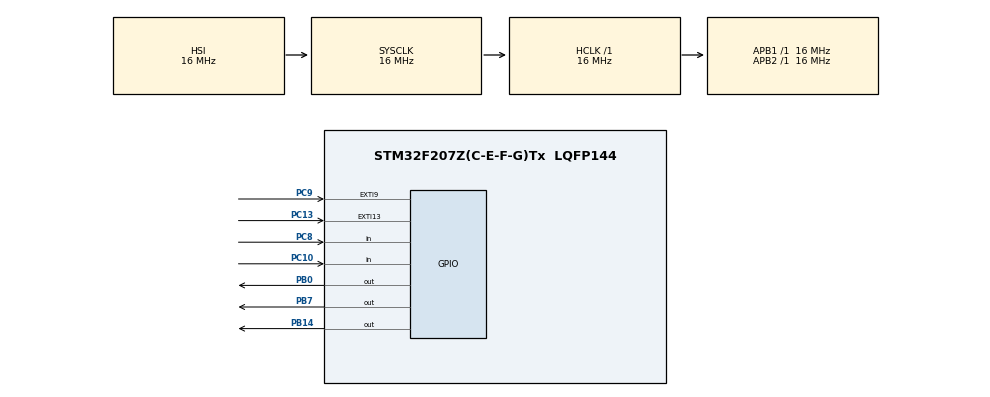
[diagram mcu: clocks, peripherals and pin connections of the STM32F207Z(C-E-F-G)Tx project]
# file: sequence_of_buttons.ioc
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Mcu.Family=STM32F2
Mcu.Name=STM32F207Z(C-E-F-G)Tx
Mcu.Package=LQFP144
NVIC.EXTI15_10_IRQn=true\:0\:0\:false\:false\:true\:true\:true\:true
NVIC.EXTI9_5_IRQn=true\:0\:0\:false\:false\:true\:true\:true\:true
NVIC.PriorityGroup=NVIC_PRIORITYGROUP_4
PB0.Signal=GPIO_Output
PB14.Signal=GPIO_Output
PB7.Signal=GPIO_Output
PC10.GPIO_PuPd=GPIO_PULLDOWN
PC10.Signal=GPIO_Input
PC13.GPIO_PuPd=GPIO_PULLDOWN
PC13.Signal=GPXTI13
PC8.GPIO_PuPd=GPIO_PULLDOWN
PC8.Signal=GPIO_Input
PC9.GPIO_PuPd=GPIO_PULLDOWN
PC9.Signal=GPXTI9
ProjectManager.HeapSize=0x200
ProjectManager.StackSize=0x400
ProjectManager.TargetToolchain=STM32CubeIDE
RCC.48MHZClocksFreq_Value=48000000
RCC.AHBFreq_Value=16000000
RCC.APB1Freq_Value=16000000
RCC.APB2Freq_Value=16000000
RCC.CortexFreq_Value=16000000
RCC.HSE_VALUE=25000000
RCC.HSI_VALUE=16000000
RCC.LSE_VALUE=32768
RCC.SYSCLKFreq_VALUE=16000000
RCC.VCOOutputFreq_Value=192000000
board=custom

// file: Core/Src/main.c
/* USER CODE BEGIN Header */
/**
  ******************************************************************************
  * @file           : main.c
  * @brief          : Main program body
  ******************************************************************************
  * @attention
  *
  * Copyright (c) 2023 STMicroelectronics.
  * All rights reserved.
  *
  * This software is licensed under terms that can be found in the LICENSE file
  * in the root directory of this software component.
  * If no LICENSE file comes with this software, it is provided AS-IS.
  *
  ******************************************************************************
  */
/* USER CODE END Header */
#include "main.h"
#include <stdio.h>

void SystemClock_Config(void);
static void MX_GPIO_Init(void);

/* USER CODE BEGIN 0 */
/*
void HAL_GPIO_EXTI_Callback(uint16_t GPIO_PIN)
{
	if (GPIO_PIN == GPIO_PIN_8)
	{
		counter++;
		if ((counter % 2) == 1)
		{
			HAL_GPIO_TogglePin(GPIOB, GPIO_PIN_0);
		}
	}
	if (GPIO_PIN == GPIO_PIN_9)
	{
		counter2++;
		if ((counter2 % 2) == 1)
		{
			HAL_GPIO_TogglePin(GPIOB, GPIO_PIN_14);
		}
	}
	if (GPIO_PIN == GPIO_PIN_10)
	{
		counter2++;
		if ((counter2 % 2) == 1)
		{
			HAL_GPIO_TogglePin(GPIOB, GPIO_PIN_7);
		}
	}
}*/
/* USER CODE END 0 */

int main(void)
{

  /* MCU Configuration--------------------------------------------------------*/

  /* Reset of all peripherals, Initializes the Flash interface and the Systick. */
  HAL_Init();

  /* Configure the system clock */
  SystemClock_Config();

  /* Initialize all configured peripherals */
  MX_GPIO_Init();
  /* USER CODE BEGIN 2 */
  int control = 1;
  uint8_t sequence[5] = {8, 8, 10, 13, 13};
  uint8_t index = 0;
 // uint8_t sequence[5] = {0, 1, 2, 3, 4};

  /* USER CODE END 2 */

  /* Infinite loop */
  /* USER CODE BEGIN WHILE */
  while (1)
  {
	  control = 1;
	  while (control)
	  {
		  if (HAL_GPIO_ReadPin(GPIOC, GPIO_PIN_8) == GPIO_PIN_SET)
		  {
			  if (sequence[index] == 8)
			  {
				  index++;
				  HAL_GPIO_WritePin(GPIOB, GPIO_PIN_7, GPIO_PIN_SET);
				  HAL_Delay(300);
				  HAL_GPIO_WritePin(GPIOB, GPIO_PIN_7, GPIO_PIN_RESET);
			  }
			  else
			  {
				  index = 0;
				  control = 0;
			  }
		  }
		  if (HAL_GPIO_ReadPin(GPIOC, GPIO_PIN_10) == GPIO_PIN_SET)
		  {
			  if (sequence[index] == 10)
			  {
			  	 index++;
			  	 HAL_GPIO_WritePin(GPIOB, GPIO_PIN_7, GPIO_PIN_SET);
			  	 HAL_Delay(300);
			  	 HAL_GPIO_WritePin(GPIOB, GPIO_PIN_7, GPIO_PIN_RESET);
			  }
			  else
			  {
				  index = 0;
				  control = 0;
			  }
		  }
		  if (HAL_GPIO_ReadPin(GPIOC, GPIO_PIN_13) == GPIO_PIN_SET)
		  {
			  if (sequence[index] == 13)
			  {
			  	 index++;
			  	 HAL_GPIO_WritePin(GPIOB, GPIO_PIN_7, GPIO_PIN_SET);
			  	 HAL_Delay(300);
			  	 HAL_GPIO_WritePin(GPIOB, GPIO_PIN_7, GPIO_PIN_RESET);
			  }
			  else
			  {
				 index = 0;
				 control = 0;
			  }
		  }
		  if (index == sizeof(sequence))
			  HAL_GPIO_WritePin(GPIOB, GPIO_PIN_14, GPIO_PIN_SET);
	  }
    /* USER CODE END WHILE */

  }
}

void SystemClock_Config(void)
{
  RCC_OscInitTypeDef RCC_OscInitStruct = {0};
  RCC_ClkInitTypeDef RCC_ClkInitStruct = {0};

  /** Initializes the RCC Oscillators according to the specified parameters
  * in the RCC_OscInitTypeDef structure.
  */
  RCC_OscInitStruct.OscillatorType = RCC_OSCILLATORTYPE_HSI;
  RCC_OscInitStruct.HSIState = RCC_HSI_ON;
  RCC_OscInitStruct.HSICalibrationValue = RCC_HSICALIBRATION_DEFAULT;
  RCC_OscInitStruct.PLL.PLLState = RCC_PLL_NONE;
  if (HAL_RCC_OscConfig(&RCC_OscInitStruct) != HAL_OK)
  {
    Error_Handler();
  }

  /** Initializes the CPU, AHB and APB buses clocks
  */
  RCC_ClkInitStruct.ClockType = RCC_CLOCKTYPE_HCLK|RCC_CLOCKTYPE_SYSCLK
                              |RCC_CLOCKTYPE_PCLK1|RCC_CLOCKTYPE_PCLK2;
  RCC_ClkInitStruct.SYSCLKSource = RCC_SYSCLKSOURCE_HSI;
  RCC_ClkInitStruct.AHBCLKDivider = RCC_SYSCLK_DIV1;
  RCC_ClkInitStruct.APB1CLKDivider = RCC_HCLK_DIV1;
  RCC_ClkInitStruct.APB2CLKDivider = RCC_HCLK_DIV1;

  if (HAL_RCC_ClockConfig(&RCC_ClkInitStruct, FLASH_LATENCY_0) != HAL_OK)
  {
    Error_Handler();
  }
}

static void MX_GPIO_Init(void)
{
  GPIO_InitTypeDef GPIO_InitStruct = {0};

  /* GPIO Ports Clock Enable */
  __HAL_RCC_GPIOC_CLK_ENABLE();
  __HAL_RCC_GPIOB_CLK_ENABLE();

  /*Configure GPIO pin Output Level */
  HAL_GPIO_WritePin(GPIOB, GPIO_PIN_0|GPIO_PIN_14|GPIO_PIN_7, GPIO_PIN_RESET);

  /*Configure GPIO pins : PC13 PC9 */
  GPIO_InitStruct.Pin = GPIO_PIN_13|GPIO_PIN_9;
  GPIO_InitStruct.Mode = GPIO_MODE_IT_RISING;
  GPIO_InitStruct.Pull = GPIO_PULLDOWN;
  HAL_GPIO_Init(GPIOC, &GPIO_InitStruct);

  /*Configure GPIO pins : PB0 PB14 PB7 */
  GPIO_InitStruct.Pin = GPIO_PIN_0|GPIO_PIN_14|GPIO_PIN_7;
  GPIO_InitStruct.Mode = GPIO_MODE_OUTPUT_PP;
  GPIO_InitStruct.Pull = GPIO_NOPULL;
  GPIO_InitStruct.Speed = GPIO_SPEED_FREQ_LOW;
  HAL_GPIO_Init(GPIOB, &GPIO_InitStruct);

  /*Configure GPIO pins : PC8 PC10 */
  GPIO_InitStruct.Pin = GPIO_PIN_8|GPIO_PIN_10;
  GPIO_InitStruct.Mode = GPIO_MODE_INPUT;
  GPIO_InitStruct.Pull = GPIO_PULLDOWN;
  HAL_GPIO_Init(GPIOC, &GPIO_InitStruct);

  /* EXTI interrupt init*/
  HAL_NVIC_SetPriority(EXTI9_5_IRQn, 0, 0);
  HAL_NVIC_EnableIRQ(EXTI9_5_IRQn);

  HAL_NVIC_SetPriority(EXTI15_10_IRQn, 0, 0);
  HAL_NVIC_EnableIRQ(EXTI15_10_IRQn);

}

void Error_Handler(void)
{
  __disable_irq();
  while (1)
  {
  }
}
